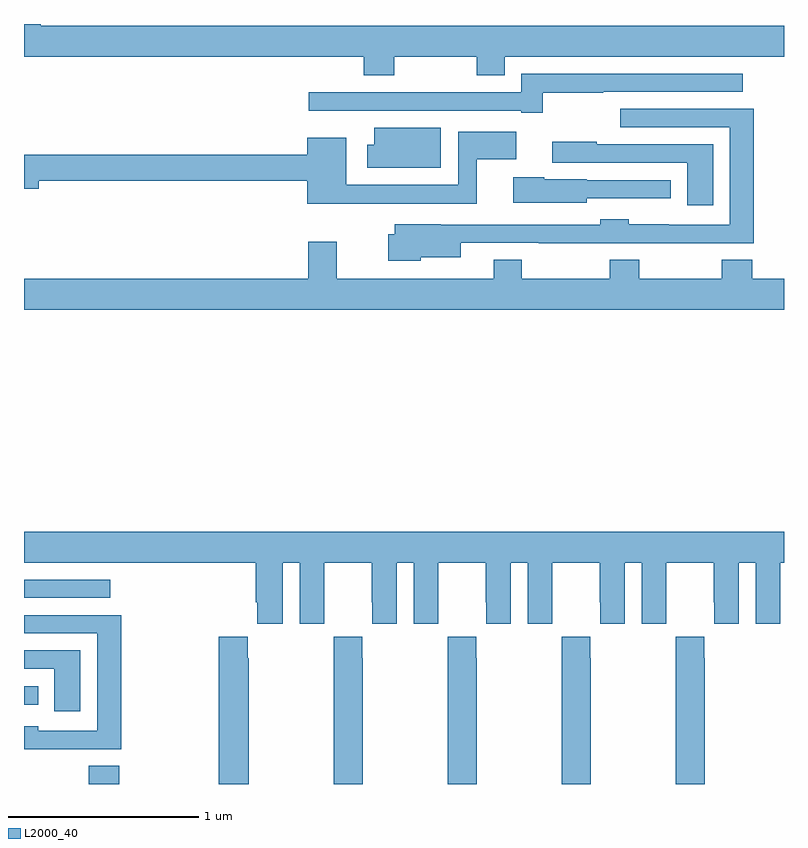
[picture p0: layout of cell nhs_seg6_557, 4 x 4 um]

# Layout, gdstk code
import gdstk
lib = gdstk.Library(unit=1e-6, precision=1e-09)
def R(c, l, rs):  # rectangles x0, y0, x1, y1
    for r in rs: c.add(gdstk.rectangle(r[:2], r[2:], *l))
def P(c, l, *ps):  # polygons
    for p in ps: c.add(gdstk.Polygon(p, *l))
L2000_40 = (2000, 40)

nhs_seg6_557 = lib.new_cell('nhs_seg6_557')
R(nhs_seg6_557, L2000_40, [(145.342,951.5,145.502,951.595), (145,951.918,145.075,952.014), (145,952.479,145.453,952.575)])
P(nhs_seg6_557, L2000_40, [(146.949,955.328),(147.382,955.328),(147.382,955.229),(147.529,955.229),(147.529,955.328),(149,955.328),(149,955.492),(145.087,955.492),(145.087,955.5),(145,955.5),(145,955.328),(146.789,955.328),(146.789,955.229),(146.949,955.229)],
  [(147.731,955.138),(148.049,955.138),(148.049,955.143),(148.783,955.143),(148.783,955.239),(147.617,955.239),(147.617,955.14),(147.293,955.14),(147.293,955.142),(147.037,955.142),(147.037,955.14),(146.499,955.14),(146.499,955.043),(146.747,955.043),(146.747,955.044),(147.617,955.044),(147.617,955.032),(147.731,955.032)],
  [(147.087,954.272),(147.298,954.272),(147.298,954.348),(147.709,954.348),(147.709,954.347),(148.841,954.347),(148.841,955.053),(148.137,955.053),(148.137,954.957),(148.715,954.957),(148.715,954.444),(148.394,954.444),(148.394,954.445),(148.182,954.445),(148.182,954.472),(148.032,954.472),(148.032,954.444),(147.194,954.444),(147.194,954.445),(146.951,954.445),(146.951,954.394),(146.918,954.394),(146.918,954.254),(147.087,954.254)],
  [(147.193,954.955),(146.843,954.955),(146.843,954.865),(146.807,954.865),(146.807,954.743),(147.193,954.743)],
  [(147.383,954.788),(147.592,954.788),(147.592,954.934),(147.285,954.934),(147.285,954.655),(146.695,954.655),(146.695,954.901),(146.492,954.901),(146.492,954.812),(145,954.812),(145,954.634),(145.078,954.634),(145.078,954.676),(146.492,954.676),(146.492,954.554),(147.383,954.554)],
  [(148.627,954.867),(148.015,954.867),(148.015,954.88),(147.779,954.88),(147.779,954.771),(148.49,954.771),(148.49,954.546),(148.627,954.546)],
  [(147.963,954.582),(148.405,954.582),(148.405,954.678),(147.963,954.678),(147.963,954.682),(147.738,954.682),(147.738,954.693),(147.576,954.693),(147.576,954.56),(147.963,954.56)],
  [(149,954.16),(148.832,954.16),(148.832,954.259),(148.672,954.259),(148.672,954.16),(148.239,954.16),(148.239,954.259),(148.084,954.259),(148.084,954.16),(147.621,954.16),(147.621,954.259),(147.473,954.259),(147.473,954.16),(146.647,954.16),(146.647,954.355),(146.495,954.355),(146.495,954.16),(145,954.16),(145,953.996),(149,953.996)],
  [(145,952.664),(146.219,952.664),(146.219,952.456),(146.228,952.456),(146.228,952.344),(146.362,952.344),(146.362,952.664),(146.45,952.664),(146.45,952.344),(146.58,952.344),(146.58,952.456),(146.581,952.456),(146.581,952.664),(146.831,952.664),(146.831,952.456),(146.832,952.456),(146.832,952.344),(146.962,952.344),(146.962,952.664),(147.05,952.664),(147.05,952.344),(147.18,952.344),(147.18,952.456),(147.181,952.456),(147.181,952.664),(147.431,952.664),(147.431,952.456),(147.432,952.456),(147.432,952.344),(147.562,952.344),(147.562,952.664),(147.65,952.664),(147.65,952.344),(147.78,952.344),(147.78,952.456),(147.781,952.456),(147.781,952.664),(148.031,952.664),(148.031,952.456),(148.032,952.456),(148.032,952.344),(148.162,952.344),(148.162,952.664),(148.25,952.664),(148.25,952.344),(148.38,952.344),(148.38,952.456),(148.381,952.456),(148.381,952.664),(148.631,952.664),(148.631,952.456),(148.632,952.456),(148.632,952.344),(148.762,952.344),(148.762,952.664),(148.85,952.664),(148.85,952.344),(148.98,952.344),(148.98,952.456),(148.981,952.456),(148.981,952.664),(149,952.664),(149,952.828),(145,952.828)],
  [(145.511,952.389),(145,952.389),(145,952.293),(145.385,952.293),(145.385,951.78),(145.074,951.78),(145.074,951.805),(145,951.805),(145,951.684),(145.074,951.684),(145.074,951.683),(145.511,951.683)],
  [(147.984,952.163),(147.981,952.163),(147.981,952.276),(147.831,952.276),(147.831,952.163),(147.829,952.163),(147.829,951.5),(147.984,951.5)],
  [(147.384,952.163),(147.381,952.163),(147.381,952.276),(147.231,952.276),(147.231,952.163),(147.229,952.163),(147.229,951.5),(147.384,951.5)],
  [(146.784,952.163),(146.781,952.163),(146.781,952.276),(146.631,952.276),(146.631,952.163),(146.629,952.163),(146.629,951.5),(146.784,951.5)],
  [(146.184,952.163),(146.177,952.163),(146.177,952.276),(146.024,952.276),(146.024,951.5),(146.184,951.5)],
  [(148.584,952.163),(148.581,952.163),(148.581,952.276),(148.431,952.276),(148.431,952.163),(148.429,952.163),(148.429,951.5),(148.584,951.5)],
  [(145.297,952.203),(145,952.203),(145,952.107),(145.16,952.107),(145.16,951.882),(145.297,951.882)])

lib.write_gds('nhs_seg6_557.gds')
